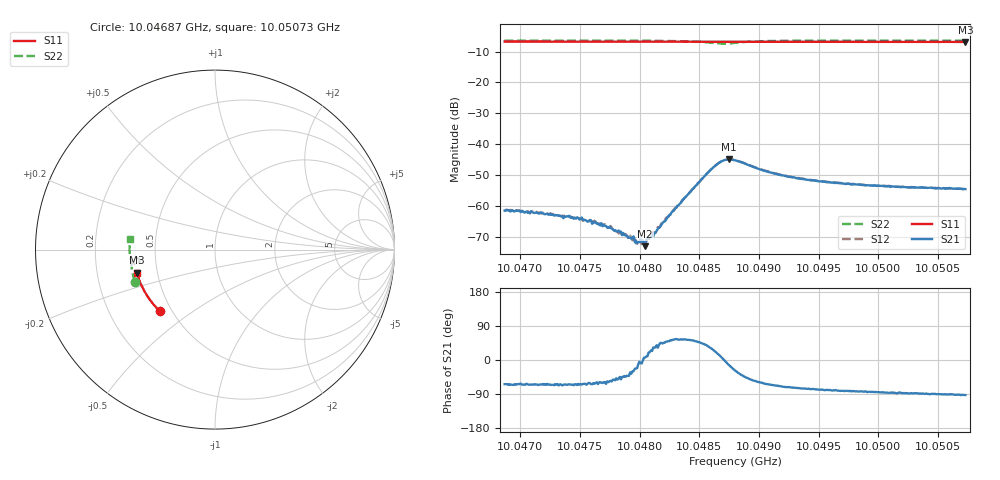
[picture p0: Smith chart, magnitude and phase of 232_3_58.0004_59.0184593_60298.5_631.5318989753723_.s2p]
#  HZ  S  RI  R  50.00
! Rohde & Schwarz Vector Network Analyzer
! Rohde-Schwarz,ZNB20-2Port,1311601062101988,3.16
! Created: UTC 3/21/2024, 1:00:43 AM
! freq[Hz]  re:S11  im:S11  re:S21  im:S21  re:S12  im:S12  re:S22  im:S22
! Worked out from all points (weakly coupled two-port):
!   401 points, 10.04687 GHz to 10.05073 GHz, reference 50 ohm
!   highest |S21| = -44.94 dB at 10.04875 GHz (marker M1); lowest = -73.0 dB at 10.04805 GHz (marker M2)
!   lowest |S11| = -6.9 dB at 10.05073 GHz (marker M3), VSWR 2.66, Z = 19.1 - j6.23 ohm
!   |S11| at or under -10 dB: nowhere
!   |S22| runs from -7.4 to -6.4 dB; largest |S21 - S12| = 0.00044
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1.0046869e10  -0.3056 -0.3448  0.000371 -0.000752  0.00043 -0.000735  -0.445 -0.1787
1.0047206e10  -0.3214 -0.3289  0.000325 -0.000655  0.000338 -0.000682  -0.4524 -0.157
1.0047515e10  -0.3354 -0.314  0.000277 -0.000588  0.000322 -0.000529  -0.4582 -0.1358
1.0047622e10  -0.3399 -0.3087  0.000248 -0.000479  0.000289 -0.000497  -0.4599 -0.1286
1.0047766e10  -0.346 -0.3013  0.000237 -0.000358  0.000273 -0.00035  -0.4621 -0.1181
1.004793e10  -0.3527 -0.2927  0.000238 -0.000175  0.000277 -0.000135  -0.4641 -0.1058
1.0047979e10  -0.3547 -0.2902  0.00025 -9.98e-05  0.000233 -7.97e-05  -0.4644 -0.1021
1.0048017e10  -0.3565 -0.2881  0.000258 -4.19e-05  0.000241 -1.28e-05  -0.4649 -0.0989
1.0048037e10  -0.357 -0.2872  0.000255 2.77e-05  0.000275 1.78e-05  -0.4651 -0.0973
1.0048046e10  -0.3574 -0.2865  0.000222 2.55e-05  0.000248 2.06e-05  -0.465 -0.0966
1.0048066e10  -0.3582 -0.2857  0.000288 4.99e-05  0.000298 7.1e-05  -0.4651 -0.0949
1.0048114e10  -0.3602 -0.283  0.000268 0.000173  0.000335 0.000184  -0.4652 -0.0909
1.0048162e10  -0.3621 -0.2805  0.000339 0.000282  0.000306 0.000316  -0.4655 -0.0867
1.0048384e10  -0.3705 -0.2684  0.000816 0.00112  0.000764 0.00117  -0.4618 -0.0649
1.0048606e10  -0.3784 -0.2561  0.00349 0.00197  0.0034 0.00218  -0.4362 -0.0464
1.0048683e10  -0.3808 -0.2518  0.0052 0.00073  0.00515 0.00105  -0.4224 -0.0559
1.0048751e10  -0.3831 -0.2482  0.0055 -0.00135  0.00562 -0.001  -0.4227 -0.072
1.0048799e10  -0.3848 -0.2456  0.00489 -0.00254  0.00505 -0.00225  -0.4308 -0.0796
1.0049147e10  -0.3963 -0.2261  0.00125 -0.00306  0.00141 -0.00303  -0.4683 -0.0566
1.0049446e10  -0.4055 -0.2084  0.000614 -0.00252  0.000754 -0.00252  -0.4742 -0.0311
1.0050093e10  -0.4221 -0.1692  0.000127 -0.00209  0.000273 -0.00209  -0.4762 0.0163
1.005073e10  -0.4349 -0.1293  -8.17e-05 -0.00187  2.1e-05 -0.00191  -0.4724 0.0596
